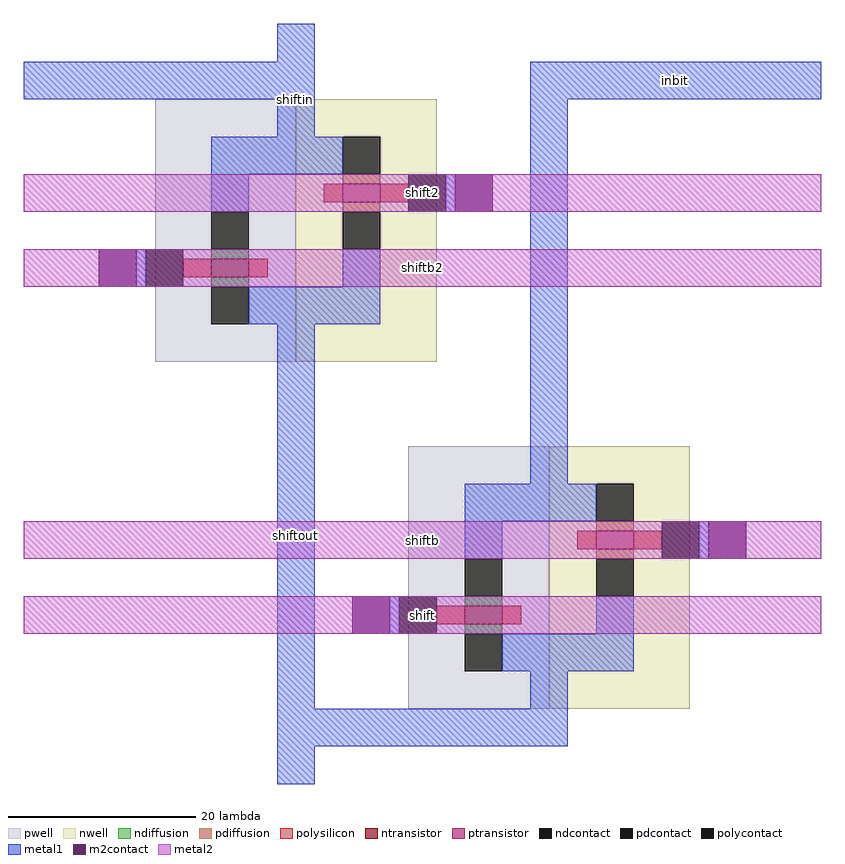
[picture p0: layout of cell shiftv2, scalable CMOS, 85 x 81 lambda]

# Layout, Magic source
magic
tech scmos
<< metal1 >>
rect -8 69 -4 73
rect -35 65 -4 69
rect 19 65 50 69
rect -8 0 -4 38
rect 19 28 23 65
rect -8 -4 23 0
rect -8 -8 -4 -4
<< metal2 >>
rect -35 53 50 57
rect -35 45 50 49
rect -35 16 50 20
rect -35 8 50 12
use transgate  transgate_1
transform 0 1 -3 -1 0 55
box -10 -24 18 18
use transgate  transgate_0
transform 0 1 24 -1 0 18
box -10 -24 18 18
<< labels >>
rlabel metal1 19 65 50 69 3 inbit
rlabel metal2 -35 16 50 20 3 shiftb
rlabel metal2 -35 8 50 12 3 shift
rlabel metal2 -35 45 50 49 3 shiftb2
rlabel metal2 -35 53 50 57 3 shift2
rlabel space -8 -8 -4 45 5 shiftout
rlabel space -8 57 -4 73 1 shiftin
<< end >>

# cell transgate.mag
magic
tech scmos
<< pwell >>
rect -10 -18 18 -3
<< nwell >>
rect -10 -3 18 12
<< polysilicon >>
rect -1 6 1 9
rect -1 0 1 2
rect 7 -8 9 -6
rect 7 -15 9 -12
<< ndiffusion >>
rect 6 -12 7 -8
rect 9 -12 10 -8
<< pdiffusion >>
rect -2 2 -1 6
rect 1 2 2 6
<< metal1 >>
rect -2 13 2 14
rect 6 2 14 6
rect -6 -1 -2 2
rect -10 -5 -2 -1
rect -6 -8 -2 -5
rect 10 -1 14 2
rect 10 -5 18 -1
rect 10 -8 14 -5
rect -6 -12 2 -8
rect 6 -20 10 -19
<< ntransistor >>
rect 7 -12 9 -8
<< ptransistor >>
rect -1 2 1 6
<< polycontact >>
rect -2 9 2 13
rect 6 -19 10 -15
<< ndcontact >>
rect 2 -12 6 -8
rect 10 -12 14 -8
<< pdcontact >>
rect -6 2 -2 6
rect 2 2 6 6
<< m2contact >>
rect -2 14 2 18
rect 6 -24 10 -20
<< end >>
